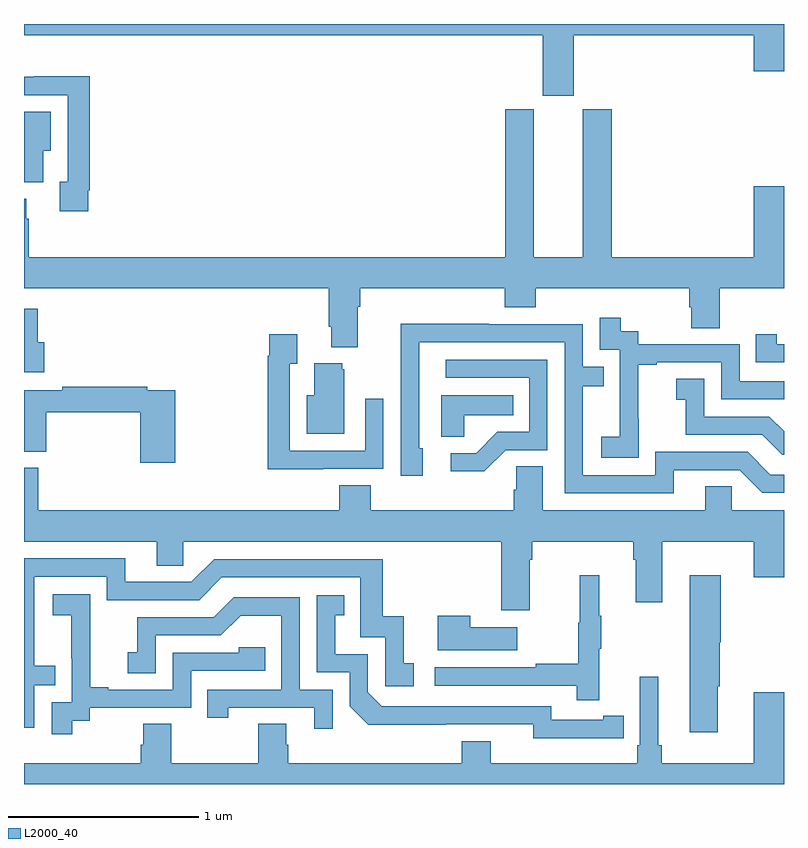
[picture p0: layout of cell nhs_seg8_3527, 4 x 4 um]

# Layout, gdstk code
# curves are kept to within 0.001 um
import gdstk
lib = gdstk.Library(unit=1e-6, precision=1e-09)
def P(c, l, *ps):  # polygons
    for p in ps: c.add(gdstk.Polygon(p, *l))
L2000_40 = (2000, 40)

nhs_seg8_3527 = lib.new_cell('nhs_seg8_3527')
P(nhs_seg8_3527, L2000_40, [(331.894,1109.84),(332.84,1109.84),(332.84,1109.652),(333,1109.652),(333,1109.9),(329,1109.9),(329,1109.84),(331.73,1109.84),(331.73,1109.523),(331.894,1109.523)],
  [(329.338,1109.026),(329.345,1109.026),(329.345,1109.624),(329.053,1109.624),(329.053,1109.622),(329,1109.622),(329,1109.526),(329.229,1109.526),(329.229,1109.07),(329.189,1109.07),(329.189,1108.914),(329.338,1108.914)],
  [(330.757,1108.412),(330.77,1108.412),(330.77,1108.508),(331.529,1108.508),(331.529,1108.409),(331.694,1108.409),(331.694,1108.508),(332.501,1108.508),(332.501,1108.41),(332.513,1108.41),(332.513,1108.3),(332.661,1108.3),(332.661,1108.508),(333,1108.508),(333,1109.047),(332.84,1109.047),(332.84,1108.672),(332.093,1108.672),(332.093,1109.451),(331.94,1109.451),(331.94,1108.672),(331.684,1108.672),(331.684,1109.451),(331.532,1109.451),(331.532,1108.672),(329.024,1108.672),(329.024,1108.874),(329.011,1108.874),(329.011,1108.981),(329,1108.981),(329,1108.508),(330.605,1108.508),(330.605,1108.306),(330.617,1108.306),(330.617,1108.199),(330.757,1108.199)],
  [(329.101,1109.234),(329.14,1109.234),(329.14,1109.437),(329,1109.437),(329,1109.066),(329.101,1109.066)],
  [(329.107,1108.225),(329.072,1108.225),(329.072,1108.402),(329,1108.402),(329,1108.067),(329.107,1108.067)],
  [(332.235,1107.823),(332.234,1107.823),(332.234,1108.107),(332.329,1108.107),(332.329,1108.119),(332.67,1108.119),(332.67,1107.924),(333,1107.924),(333,1108.02),(332.766,1108.02),(332.766,1108.215),(332.232,1108.215),(332.232,1108.284),(332.14,1108.284),(332.14,1108.354),(332.031,1108.354),(332.031,1108.185),(332.136,1108.185),(332.136,1107.956),(332.135,1107.956),(332.135,1107.727),(332.037,1107.727),(332.037,1107.617),(332.235,1107.617)],
  [(332.419,1107.552),(332.766,1107.552),(332.886,1107.432),(333,1107.432),(333,1107.528),(332.928,1107.528),(332.808,1107.648),(332.322,1107.648),(332.322,1107.525),(331.941,1107.525),(331.941,1107.994),(332.051,1107.994),(332.051,1108.095),(331.941,1108.095),(331.941,1108.32),(331.445,1108.32),(331.445,1108.322),(330.982,1108.322),(330.982,1108.015),(330.984,1108.015),(330.984,1107.522),(331.099,1107.522),(331.099,1107.666),(331.08,1107.666),(331.08,1108.224),(331.845,1108.224),(331.845,1107.429),(332.419,1107.429)],
  [(333,1108.215),(332.962,1108.215),(332.962,1108.267),(332.851,1108.267),(332.851,1108.119),(333,1108.119)],
  [(330.575,1107.558),(330.891,1107.558),(330.891,1107.928),(330.795,1107.928),(330.795,1107.654),(330.399,1107.654),(330.399,1108.111),(330.439,1108.111),(330.439,1108.267),(330.291,1108.267),(330.291,1108.154),(330.283,1108.154),(330.283,1107.557),(330.575,1107.557)],
  [(331.536,1107.657),(331.755,1107.657),(331.755,1108.134),(331.221,1108.134),(331.221,1108.038),(331.659,1108.038),(331.659,1107.753),(331.49,1107.753),(331.379,1107.642),(331.245,1107.642),(331.245,1107.545),(331.423,1107.545)],
  [(330.685,1108.083),(330.674,1108.083),(330.674,1108.114),(330.527,1108.114),(330.527,1107.946),(330.488,1107.946),(330.488,1107.743),(330.685,1107.743)],
  [(333,1107.756),(332.922,1107.834),(332.58,1107.834),(332.58,1108.033),(332.433,1108.033),(332.433,1107.923),(332.482,1107.923),(332.482,1107.738),(332.885,1107.738),(332.99,1107.633),(333,1107.633)],
  [(329.795,1107.972),(329.648,1107.972),(329.648,1107.992),(329.2,1107.992),(329.2,1107.972),(329,1107.972),(329,1107.65),(329.117,1107.65),(329.117,1107.856),(329.612,1107.856),(329.612,1107.591),(329.795,1107.591)],
  [(331.317,1107.842),(331.574,1107.842),(331.574,1107.946),(331.196,1107.946),(331.196,1107.727),(331.317,1107.727)],
  [(331.663,1107.08),(331.676,1107.08),(331.676,1107.176),(332.207,1107.176),(332.207,1107.08),(332.219,1107.08),(332.219,1106.856),(332.359,1106.856),(332.359,1107.176),(332.84,1107.176),(332.84,1106.988),(333,1106.988),(333,1107.34),(332.724,1107.34),(332.724,1107.467),(332.585,1107.467),(332.585,1107.34),(331.729,1107.34),(331.729,1107.572),(331.59,1107.572),(331.59,1107.449),(331.577,1107.449),(331.577,1107.34),(330.824,1107.34),(330.824,1107.473),(330.659,1107.473),(330.659,1107.34),(329.075,1107.34),(329.075,1107.565),(329,1107.565),(329,1107.176),(329.699,1107.176),(329.699,1107.049),(329.838,1107.049),(329.838,1107.176),(331.511,1107.176),(331.511,1106.814),(331.663,1106.814)],
  [(329.055,1106.421),(329.165,1106.421),(329.165,1106.522),(329.055,1106.522),(329.055,1106.991),(329.436,1106.991),(329.436,1106.868),(329.922,1106.868),(330.042,1106.988),(330.771,1106.988),(330.771,1106.673),(330.9,1106.673),(330.9,1106.415),(331.051,1106.415),(331.051,1106.535),(330.998,1106.535),(330.998,1106.782),(330.887,1106.782),(330.887,1107.084),(330,1107.084),(329.88,1106.964),(329.533,1106.964),(329.533,1107.087),(329,1107.087),(329,1106.196),(329.055,1106.196)],
  [(332.027,1106.611),(332.038,1106.611),(332.038,1106.785),(332.027,1106.785),(332.027,1106.998),(331.924,1106.998),(331.924,1106.748),(331.917,1106.748),(331.917,1106.534),(331.693,1106.534),(331.693,1106.514),(331.161,1106.514),(331.161,1106.418),(331.909,1106.418),(331.909,1106.34),(332.027,1106.34)],
  [(332.65,1106.415),(332.663,1106.415),(332.663,1106.646),(332.668,1106.646),(332.668,1106.998),(332.504,1106.998),(332.504,1106.172),(332.65,1106.172)],
  [(329.254,1106.233),(329.346,1106.233),(329.346,1106.301),(329.88,1106.301),(329.88,1106.496),(330.269,1106.496),(330.269,1106.619),(330.129,1106.619),(330.129,1106.592),(329.784,1106.592),(329.784,1106.397),(329.443,1106.397),(329.443,1106.41),(329.348,1106.41),(329.348,1106.693),(329.349,1106.693),(329.349,1106.899),(329.151,1106.899),(329.151,1106.789),(329.249,1106.789),(329.249,1106.561),(329.25,1106.561),(329.25,1106.331),(329.145,1106.331),(329.145,1106.163),(329.254,1106.163)],
  [(332.048,1106.142),(332.156,1106.142),(332.156,1106.258),(332.048,1106.258),(332.048,1106.238),(331.776,1106.238),(331.776,1106.31),(330.882,1106.31),(330.81,1106.382),(330.81,1106.583),(330.637,1106.583),(330.637,1106.787),(330.686,1106.787),(330.686,1106.893),(330.54,1106.893),(330.54,1106.487),(330.714,1106.487),(330.714,1106.31),(330.812,1106.213),(331.68,1106.214),(331.68,1106.141)],
  [(330.624,1106.397),(330.45,1106.397),(330.45,1106.883),(330.104,1106.883),(329.999,1106.778),(329.596,1106.778),(329.596,1106.593),(329.547,1106.593),(329.547,1106.484),(329.694,1106.484),(329.694,1106.682),(330.036,1106.682),(330.14,1106.786),(330.354,1106.786),(330.354,1106.397),(329.965,1106.397),(329.965,1106.25),(330.076,1106.25),(330.076,1106.301),(330.527,1106.301),(330.527,1106.19),(330.624,1106.19)],
  [(331.597,1106.725),(331.349,1106.725),(331.349,1106.785),(331.178,1106.785),(331.178,1106.603),(331.597,1106.603)],
  [(333,1106.383),(332.84,1106.383),(332.84,1106.008),(332.357,1106.008),(332.357,1106.104),(332.338,1106.104),(332.338,1106.464),(332.241,1106.464),(332.241,1106.104),(332.228,1106.104),(332.228,1106.008),(331.456,1106.008),(331.456,1106.125),(331.304,1106.125),(331.304,1106.008),(330.392,1106.008),(330.392,1106.106),(330.379,1106.106),(330.379,1106.216),(330.232,1106.216),(330.232,1106.008),(329.775,1106.008),(329.775,1106.216),(329.627,1106.216),(329.627,1106.106),(329.615,1106.106),(329.615,1106.008),(329,1106.008),(329,1105.9),(333,1105.9)])

lib.write_gds('nhs_seg8_3527.gds')
